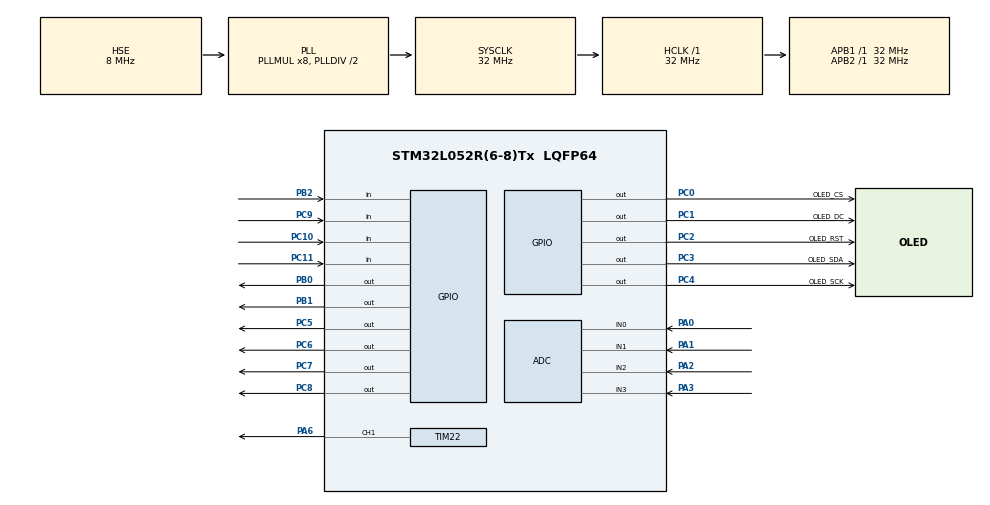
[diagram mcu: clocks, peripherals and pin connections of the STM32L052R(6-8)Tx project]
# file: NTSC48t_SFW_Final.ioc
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ADC.ClockPrescaler=ADC_CLOCK_ASYNC_DIV64
ADC.DiscontinuousConvMode=ENABLE
ADC.SamplingTime=ADC_SAMPLETIME_160CYCLES_5
Mcu.Family=STM32L0
Mcu.Name=STM32L052R(6-8)Tx
Mcu.Package=LQFP64
NVIC.ADC1_COMP_IRQn=true\:0\:0\:false\:false\:true\:true
PA0.Mode=IN0
PA0.Signal=ADC_IN0
PA1.Mode=IN1
PA1.Signal=ADC_IN1
PA2.Mode=IN2
PA2.Signal=ADC_IN2
PA3.Mode=IN3
PA3.Signal=ADC_IN3
PA6.Signal=S_TIM22_CH1
PB0.Signal=GPIO_Output
PB1.Signal=GPIO_Output
PB2.Signal=GPIO_Input
PC0.GPIO_Label=OLED_CS
PC0.Signal=GPIO_Output
PC1.GPIO_Label=OLED_DC
PC1.Signal=GPIO_Output
PC10.Signal=GPIO_Input
PC11.Signal=GPIO_Input
PC14-OSC32_IN.Mode=LSE-External-Oscillator
PC14-OSC32_IN.Signal=RCC_OSC32_IN
PC15-OSC32_OUT.Mode=LSE-External-Oscillator
PC15-OSC32_OUT.Signal=RCC_OSC32_OUT
PC2.GPIO_Label=OLED_RST
PC2.Signal=GPIO_Output
PC3.GPIO_Label=OLED_SDA
PC3.Signal=GPIO_Output
PC4.GPIO_Label=OLED_SCK
PC4.Signal=GPIO_Output
PC5.Signal=GPIO_Output
PC6.Signal=GPIO_Output
PC7.Signal=GPIO_Output
PC8.Signal=GPIO_Output
PC9.Signal=GPIO_Input
PH0-OSC_IN.Mode=HSE-External-Oscillator
PH0-OSC_IN.Signal=RCC_OSC_IN
PH1-OSC_OUT.Mode=HSE-External-Oscillator
PH1-OSC_OUT.Signal=RCC_OSC_OUT
ProjectManager.HeapSize=0x200
ProjectManager.StackSize=0x400
ProjectManager.TargetToolchain=MDK-ARM V5
RCC.AHBFreq_Value=32000000
RCC.APB1Freq_Value=32000000
RCC.APB1TimFreq_Value=32000000
RCC.APB2Freq_Value=32000000
RCC.APB2TimFreq_Value=32000000
RCC.HCLKFreq_Value=32000000
RCC.HSE_VALUE=8000000
RCC.HSI16_VALUE=16000000
RCC.HSI48_VALUE=48000000
RCC.HSI_VALUE=16000000
RCC.LSE_Drive_Capability=RCC_LSEDRIVE_HIGH
RCC.MSI_VALUE=2097000
RCC.PLLMUL=RCC_PLLMUL_8
RCC.PLLSourceVirtual=RCC_PLLSOURCE_HSE
RCC.RTCClockSelection=RCC_RTCCLKSOURCE_LSE
RCC.RTCClockSelectionVirtual=RCC_RTCCLKSOURCE_LSE
RCC.SYSCLKFreq_VALUE=32000000
RCC.SYSCLKSource=RCC_SYSCLKSOURCE_PLLCLK
RCC.VCOOutputFreq_Value=64000000
SH.S_TIM22_CH1.0=TIM22_CH1,PWM Generation1 CH1
TIM22.Channel-PWM\ Generation1\ CH1=TIM_CHANNEL_1
TIM22.OCMode_PWM-PWM\ Generation1\ CH1=TIM_OCMODE_PWM2
TIM22.Period=99
TIM22.Prescaler=3199
TIM22.Pulse-PWM\ Generation1\ CH1=0
VP_RTC_VS_RTC_Activate.Mode=RTC_Enabled
VP_RTC_VS_RTC_Calendar.Mode=RTC_Calendar
VP_TIM22_VS_ClockSourceINT.Mode=Internal
board=custom

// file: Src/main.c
/**
  ******************************************************************************
  * @file           : main.c
  * @brief          : Main program body
  ******************************************************************************
  ** This notice applies to any and all portions of this file
  * that are not between comment pairs USER CODE BEGIN and
  * USER CODE END. Other portions of this file, whether
  * inserted by the user or by software development tools
  * are owned by their respective copyright owners.
  *
  * COPYRIGHT(c) 2020 STMicroelectronics
  *
  * Redistribution and use in source and binary forms, with or without modification,
  * are permitted provided that the following conditions are met:
  *   1. Redistributions of source code must retain the above copyright notice,
  *      this list of conditions and the following disclaimer.
  *   2. Redistributions in binary form must reproduce the above copyright notice,
  *      this list of conditions and the following disclaimer in the documentation
  *      and/or other materials provided with the distribution.
  *   3. Neither the name of STMicroelectronics nor the names of its contributors
  *      may be used to endorse or promote products derived from this software
  *      without specific prior written permission.
  *
  * THIS SOFTWARE IS PROVIDED BY THE COPYRIGHT HOLDERS AND CONTRIBUTORS "AS IS"
  * AND ANY EXPRESS OR IMPLIED WARRANTIES, INCLUDING, BUT NOT LIMITED TO, THE
  * IMPLIED WARRANTIES OF MERCHANTABILITY AND FITNESS FOR A PARTICULAR PURPOSE ARE
  * DISCLAIMED. IN NO EVENT SHALL THE COPYRIGHT HOLDER OR CONTRIBUTORS BE LIABLE
  * FOR ANY DIRECT, INDIRECT, INCIDENTAL, SPECIAL, EXEMPLARY, OR CONSEQUENTIAL
  * DAMAGES (INCLUDING, BUT NOT LIMITED TO, PROCUREMENT OF SUBSTITUTE GOODS OR
  * SERVICES; LOSS OF USE, DATA, OR PROFITS; OR BUSINESS INTERRUPTION) HOWEVER
  * CAUSED AND ON ANY THEORY OF LIABILITY, WHETHER IN CONTRACT, STRICT LIABILITY,
  * OR TORT (INCLUDING NEGLIGENCE OR OTHERWISE) ARISING IN ANY WAY OUT OF THE USE
  * OF THIS SOFTWARE, EVEN IF ADVISED OF THE POSSIBILITY OF SUCH DAMAGE.
  *
  ******************************************************************************
  */
#include "main.h"
#include "stm32l0xx_hal.h"
#include "adc.h"
#include "rtc.h"
#include "tim.h"
#include "gpio.h"

/* USER CODE BEGIN Includes */
RTC_TimeTypeDef sTime;
RTC_DateTypeDef sDate;
extern ADC_HandleTypeDef hadc;
/* USER CODE END Includes */

/* USER CODE BEGIN PV */
/* Private variables ---------------------------------------------------------*/

uint8_t hour = 0;
uint8_t min = 0;
uint8_t sec = 0;
uint8_t mode=0,b_mode=0,t1=0,s2=0,n=0;
uint16_t ain[4],c1=0,RPM,ni=0,nii=0,bn=10,nnn,cnn=0;
uint32_t t[2];
char str[32],stt[9][10]={{"  CENTER  "},
												 {"    UP    "},
												 {" RIGHT_UP "},
												 {"  RIGHT   "},
												 {"RIGHT_DOWN"},
												 {"   DOWN   "},
												 {"LEFT_DOWN "},
												 {"   LEFT   "},
												 {"  LEFT_UP "}};
_Bool flag_R[2]={1,1},ct1=1,c2=1,c22=0,c222=0,c0=0;

/* USER CODE END PV */

void SystemClock_Config(void);

/* USER CODE BEGIN PFP */
/* Private function prototypes -----------------------------------------------*/
void Set_BCD_Hour(char);
void Set_BCD_Min(char);
void Set_BCD_Sec(char);
char Get_BCD_Hour(void);
char Get_BCD_Min(void);
char Get_BCD_Sec(void);

void adc()
{
	for(uint8_t i=0;i<4;i++)
	{
		HAL_ADC_Start(&hadc);
		HAL_ADC_PollForConversion(&hadc,10);
		ain[i]=HAL_ADC_GetValue(&hadc);
	}
}
void m0()
{
	if(b_mode!=mode)
	{
		b_mode=mode;
		GPIOC->ODR=~0x80;
		GPIOB->ODR=0x00;
		TIM22->CCR1=0;
		OLED_Start_Page_PageAddressing(0);
		OLED_Start_Column_PageAddressing(0);
		t[0]=HAL_GetTick();
		c0=0;
	}
	if(c0)
	{
		HAL_RTC_GetDate(&hrtc,&sDate,FORMAT_BIN);
		HAL_RTC_GetTime(&hrtc,&sTime,FORMAT_BIN);
		sprintf(str,"System RTC: %02d:%02d:%02d",sTime.Hours,sTime.Minutes,sTime.Seconds);
		OLED_ShowRomString(2,str);
	}
	if(HAL_GetTick()-t[0]>=200)
	{
		c0=1;
		adc();
		OLED_ShowRomString(0,"NTSC_48T: Electronics");
		OLED_ShowRomString(1,"Competitor: 000000002");
		sprintf(str,"AIN0: %04d[mV]",ain[0]*3300/4095);
		OLED_ShowRomString(3,str);
		sprintf(str,"AIN1: %04d[mV]",ain[1]*3300/4095);
		OLED_ShowRomString(4,str);
		sprintf(str,"AIN2: %04d[mV]",ain[2]*3300/4095);
		OLED_ShowRomString(5,str);
		sprintf(str,"AIN3: %04d[mV]",ain[3]*3300/4095);
		OLED_ShowRomString(6,str);
		if(HAL_GPIO_ReadPin(GPIOB,GPIO_PIN_2)==0)
		{
			OLED_ShowRomString(7,"RPM:    BLANKED");
		}
		else
		{
			OLED_ShowRomString(7,"RPM:  NOT_BLANKED");
		}
		t[0]=HAL_GetTick();
	}
}
void m1()
{
	if(b_mode!=mode)
	{
		b_mode=mode;
		GPIOC->ODR=~0x40;
		GPIOB->ODR=0x00;
		TIM22->CCR1=0;
		OLED_Start_Page_PageAddressing(0);
		OLED_Start_Column_PageAddressing(0);
		t[0]=t[1]=HAL_GetTick();
		OLED_ShowRomString(6,"Relay1: OFF");
		OLED_ShowRomString(7,"Relay2: OFF");
	}
	if(HAL_GetTick()-t[0]>=200)
	{
		adc();
		OLED_ShowRomString(0,"Power GenEration Info");
		if(ain[1]>3000) TIM22->CCR1+=5;
		else if(ain[1]<1000&&TIM22->CCR1>=5) TIM22->CCR1-=5;
		else if(ain[1]<1000) TIM22->CCR1=0;
		else if(ain[0]>3000) TIM22->CCR1+=1;
		else if(ain[0]<1000&&TIM22->CCR1>0) TIM22->CCR1-=1;
		if(TIM22->CCR1>100) TIM22->CCR1=100;
		sprintf(str,"PWM1: %3d  [%%]",TIM22->CCR1);
		OLED_ShowRomString(1,str);
		sprintf(str,"RPM:  %4d [RPM]",RPM*60);
		OLED_ShowRomString(2,str);
		uint16_t pp=RPM*60/TIM22->CCR1;
		if(TIM22->CCR1==0) pp=0;
		sprintf(str,"Rate: %4d [RPM/PWM1]",pp);
		OLED_ShowRomString(3,str);
		sprintf(str,"Vout: %4d [mV]",ain[2]*3300/4095);
		OLED_ShowRomString(4,str);
		sprintf(str,"Iout: %5.1f[mA]",(float)ain[3]*3300/4095/11);
		OLED_ShowRomString(5,str);
		if(HAL_GPIO_ReadPin(GPIOC,GPIO_PIN_10)==0&&flag_R[0])
		{
			HAL_GPIO_TogglePin(GPIOB,GPIO_PIN_0);
			if(HAL_GPIO_ReadPin(GPIOB,GPIO_PIN_0)) OLED_ShowRomString(6,"Relay1: ON");
			else OLED_ShowRomString(6,"Relay1: OFF");
			flag_R[0]=0;
		}else if(HAL_GPIO_ReadPin(GPIOC,GPIO_PIN_10)==1)
		{
			flag_R[0]=1;
		}
		if(HAL_GPIO_ReadPin(GPIOC,GPIO_PIN_9)==0&&flag_R[1])
		{
			HAL_GPIO_TogglePin(GPIOB,GPIO_PIN_1);
			if(HAL_GPIO_ReadPin(GPIOB,GPIO_PIN_1)) OLED_ShowRomString(7,"Relay2: ON");
			else OLED_ShowRomString(7,"Relay2: OFF");
			flag_R[1]=0;
		}else if(HAL_GPIO_ReadPin(GPIOC,GPIO_PIN_9)==1)
		{
			flag_R[1]=1;
		}
		t[0]=HAL_GetTick();
	}
	if(HAL_GetTick()-t[1]<500)
	{
		if(ct1&&HAL_GPIO_ReadPin(GPIOB,GPIO_PIN_2)==0)
		{
			c1++;
			ct1=0;
		}else if(!ct1&&HAL_GPIO_ReadPin(GPIOB,GPIO_PIN_2))
		{
			ct1=1;
		}
	}else
	{
		t[1]=HAL_GetTick();
		RPM=c1;
		c1=0;
	}
}
void m2()
{
	if(b_mode!=mode)
	{
		b_mode=mode;
		GPIOC->ODR=~0x20;
		GPIOB->ODR=0x00;
		OLED_Start_Page_PageAddressing(0);
		OLED_Start_Column_PageAddressing(0);
		t[0]=HAL_GetTick();
		OLED_ShowLogo();
	}
	int i=0;
	HAL_RTC_GetDate(&hrtc,&sDate,FORMAT_BIN);
	HAL_RTC_GetTime(&hrtc,&sTime,FORMAT_BIN);
	OLED_Start_Page_PageAddressing(0);
	OLED_Start_Column_PageAddressing(0);
	sprintf(str,"%02d:%02d:%02d",sTime.Hours,sTime.Minutes,sTime.Seconds);
	while(str[i]!='\0') OLED_ShowRomChar(str[i++]);
	if(HAL_GetTick()-t[0]>=200)
	{
		adc();
		OLED_Start_Page_PageAddressing(1);
		OLED_Start_Column_PageAddressing(0);
		i=0;
		if(ain[0]>3000&&ain[1]>3000)
		{
			while(i<10) OLED_ShowRomChar(stt[2][i++]);
			n=2;
		}
		else if(ain[0]>3000&&ain[1]<1000)
		{
			while(i<10) OLED_ShowRomChar(stt[4][i++]);
			n=4;
		}
		else if(ain[0]<1000&&ain[1]>3000)
		{
			while(i<10) OLED_ShowRomChar(stt[8][i++]);
			n=8;
		}
		else if(ain[0]<1000&&ain[1]<1000)
		{
			while(i<10) OLED_ShowRomChar(stt[6][i++]);
			n=6;
		}
		else if(ain[0]>3000)
		{
			while(i<10) OLED_ShowRomChar(stt[3][i++]);
			n=3;
		}
		else if(ain[1]>3000)
		{
			while(i<10) OLED_ShowRomChar(stt[1][i++]);
			n=1;
		}
		else if(ain[0]<1000)
		{
			while(i<10) OLED_ShowRomChar(stt[7][i++]);
			n=7;
		}
		else if(ain[1]<1000)
		{
			while(i<10) OLED_ShowRomChar(stt[5][i++]);
			n=5;
		}
		else if(ain[1]>1000&&ain[0]>1000&&ain[0]<3000&&ain[1]<3000)
		{
			while(i<10) OLED_ShowRomChar(stt[0][i++]);
			n=0;
		}
		if(n!=0&&bn!=n)
		{
			bn=n;
			if(c2==1)
			{
				nnn=ni=nii=n;
				c2=0;
				nii++;
				if(nii>8) nii=0;
				nnn--;
				if(nnn<0) nnn=8;
			}
			if(n==nii&&s2==0)
			{
					s2=1;
					nii++;
					if(nii>8) nii=0;
			}
			if(s2==0&&n==nnn)
			{
					s2=2;
					nnn--;
					if(nnn<0) nnn=8;
					nii=nnn;
			}
			cnn+=n;
			if(cnn>=36) c22=1;
			if(n==nii&&s2==1)
			{
				nii++;
				if(n!=ni) c222=1;
				if(nii>8) nii=0;
				if(n==ni&&c222) c22=1;
			}
			else if(n==nii&&s2==2)
			{
				nii--;
				if(n!=ni) c222=1;
				if(nii<0) nii=8;
				if(n==ni&&c222) c22=1;
			}
		}else if(n==0)
		{
			c2=1;
			s2=0;
			c22=0;
			c222=0;
			cnn=0;
		}
    OLED_Start_Page_PageAddressing(2);
		OLED_Start_Column_PageAddressing(0);
		i=0;
		if(s2==0)
		{
			OLED_ShowRomChar('N');
			OLED_ShowRomChar('O');
			OLED_ShowRomChar('N');
			OLED_ShowRomChar('E');
		}
		else if(s2==1&&c22)
		{
			OLED_ShowRomChar(' ');
			OLED_ShowRomChar('C');
			OLED_ShowRomChar('W');
			OLED_ShowRomChar(' ');
		}
		else if(s2==2&&c22)
		{
			OLED_ShowRomChar(' ');
			OLED_ShowRomChar('C');
			OLED_ShowRomChar('C');
			OLED_ShowRomChar('W');
		}
		t[0]=HAL_GetTick();
	}
}
void m()
{
	switch (mode)
	{
		case 0:
			m0();
			break;
		case 1:
			m1();
			break;
		case 2:
			m2();
			break;
	}
}
void s()
{
	if(!HAL_GPIO_ReadPin(GPIOC,GPIO_PIN_11))
	{
		mode++;
		if(mode>=3)mode=0;
		while(!HAL_GPIO_ReadPin(GPIOC,GPIO_PIN_11))
		{
			m();
		}
		HAL_Delay(40);
	}
}

/* USER CODE END PFP */

int main(void)
{

  /* MCU Configuration----------------------------------------------------------*/

  /* Reset of all peripherals, Initializes the Flash interface and the Systick. */
  HAL_Init();

  /* Configure the system clock */
  SystemClock_Config();

  /* Initialize all configured peripherals */
  MX_GPIO_Init();
  MX_TIM22_Init();
  MX_RTC_Init();
  MX_ADC_Init();
  /* USER CODE BEGIN 2 */

	HAL_TIM_Base_Start(&htim22);
	HAL_TIM_PWM_Start(&htim22 , TIM_CHANNEL_1);

	HAL_Delay(100);	//Wait for RTC Init

	HAL_GPIO_WritePin(GPIOC , GPIO_PIN_8 , GPIO_PIN_SET);
	HAL_GPIO_WritePin(GPIOC , GPIO_PIN_7 , GPIO_PIN_SET);
	HAL_GPIO_WritePin(GPIOC , GPIO_PIN_6 , GPIO_PIN_SET);
	HAL_GPIO_WritePin(GPIOC , GPIO_PIN_5 , GPIO_PIN_SET);
	HAL_GPIO_WritePin(GPIOC , GPIO_PIN_4 , GPIO_PIN_SET);
	HAL_GPIO_WritePin(GPIOB , GPIO_PIN_1 , GPIO_PIN_RESET);
	HAL_GPIO_WritePin(GPIOB , GPIO_PIN_0 , GPIO_PIN_RESET);

	OLED_Init();
	HAL_Delay(1000);

  /* USER CODE END 2 */

  /* Infinite loop */
  /* USER CODE BEGIN WHILE */
  while (1)
  {
		s();
		m();
		HAL_GPIO_WritePin(GPIOC,GPIO_PIN_8,(HAL_GPIO_ReadPin(GPIOB,GPIO_PIN_2)));
  /* USER CODE END WHILE */

  }

}

void SystemClock_Config(void)
{

  RCC_OscInitTypeDef RCC_OscInitStruct;
  RCC_ClkInitTypeDef RCC_ClkInitStruct;
  RCC_PeriphCLKInitTypeDef PeriphClkInit;

    /**Configure the main internal regulator output voltage
    */
  __HAL_PWR_VOLTAGESCALING_CONFIG(PWR_REGULATOR_VOLTAGE_SCALE1);

    /**Configure LSE Drive Capability
    */
  HAL_PWR_EnableBkUpAccess();

  __HAL_RCC_LSEDRIVE_CONFIG(RCC_LSEDRIVE_HIGH);

    /**Initializes the CPU, AHB and APB busses clocks
    */
  RCC_OscInitStruct.OscillatorType = RCC_OSCILLATORTYPE_HSI|RCC_OSCILLATORTYPE_HSE
                              |RCC_OSCILLATORTYPE_LSE;
  RCC_OscInitStruct.HSEState = RCC_HSE_ON;
  RCC_OscInitStruct.LSEState = RCC_LSE_ON;
  RCC_OscInitStruct.HSIState = RCC_HSI_ON;
  RCC_OscInitStruct.HSICalibrationValue = 16;
  RCC_OscInitStruct.PLL.PLLState = RCC_PLL_ON;
  RCC_OscInitStruct.PLL.PLLSource = RCC_PLLSOURCE_HSE;
  RCC_OscInitStruct.PLL.PLLMUL = RCC_PLLMUL_8;
  RCC_OscInitStruct.PLL.PLLDIV = RCC_PLLDIV_2;
  if (HAL_RCC_OscConfig(&RCC_OscInitStruct) != HAL_OK)
  {
    _Error_Handler(__FILE__, __LINE__);
  }

    /**Initializes the CPU, AHB and APB busses clocks
    */
  RCC_ClkInitStruct.ClockType = RCC_CLOCKTYPE_HCLK|RCC_CLOCKTYPE_SYSCLK
                              |RCC_CLOCKTYPE_PCLK1|RCC_CLOCKTYPE_PCLK2;
  RCC_ClkInitStruct.SYSCLKSource = RCC_SYSCLKSOURCE_PLLCLK;
  RCC_ClkInitStruct.AHBCLKDivider = RCC_SYSCLK_DIV1;
  RCC_ClkInitStruct.APB1CLKDivider = RCC_HCLK_DIV1;
  RCC_ClkInitStruct.APB2CLKDivider = RCC_HCLK_DIV1;

  if (HAL_RCC_ClockConfig(&RCC_ClkInitStruct, FLASH_LATENCY_1) != HAL_OK)
  {
    _Error_Handler(__FILE__, __LINE__);
  }

  PeriphClkInit.PeriphClockSelection = RCC_PERIPHCLK_RTC;
  PeriphClkInit.RTCClockSelection = RCC_RTCCLKSOURCE_LSE;
  if (HAL_RCCEx_PeriphCLKConfig(&PeriphClkInit) != HAL_OK)
  {
    _Error_Handler(__FILE__, __LINE__);
  }

    /**Configure the Systick interrupt time
    */
  HAL_SYSTICK_Config(HAL_RCC_GetHCLKFreq()/1000);

    /**Configure the Systick
    */
  HAL_SYSTICK_CLKSourceConfig(SYSTICK_CLKSOURCE_HCLK);

  /* SysTick_IRQn interrupt configuration */
  HAL_NVIC_SetPriority(SysTick_IRQn, 0, 0);
}

/* USER CODE BEGIN 4 */
void Set_BCD_Hour(char hour)
{
  RTC_TimeTypeDef sTime;
	HAL_RTC_GetTime(&hrtc , &sTime , RTC_FORMAT_BCD);
	sTime.Hours = hour;
	HAL_RTC_SetTime(&hrtc , &sTime , RTC_FORMAT_BCD);
}

void Set_BCD_Min(char min)
{
  RTC_TimeTypeDef sTime;
	HAL_RTC_GetTime(&hrtc , &sTime , RTC_FORMAT_BCD);
	sTime.Minutes = min;
	HAL_RTC_SetTime(&hrtc , &sTime , RTC_FORMAT_BCD);
}

void Set_BCD_Sec(char sec)
{
  RTC_TimeTypeDef sTime;
	HAL_RTC_GetTime(&hrtc , &sTime , RTC_FORMAT_BCD);
	sTime.Seconds = sec;
	HAL_RTC_SetTime(&hrtc , &sTime , RTC_FORMAT_BCD);
}

char Get_BCD_Hour(void)
{
  RTC_TimeTypeDef sTime;
	char hour;
	HAL_RTC_GetTime(&hrtc , &sTime , RTC_FORMAT_BCD);
	hour = sTime.Hours;
	return hour;
}

char Get_BCD_Min(void)
{
  RTC_TimeTypeDef sTime;
	char min;
	HAL_RTC_GetTime(&hrtc , &sTime , RTC_FORMAT_BCD);
	min = sTime.Minutes;
	return min;
}

char Get_BCD_Sec(void)
{
  RTC_TimeTypeDef sTime;
	char sec;
	HAL_RTC_GetTime(&hrtc , &sTime , RTC_FORMAT_BCD);
	sec = sTime.Seconds;
	return sec;
}

/* USER CODE END 4 */

void _Error_Handler(char *file, int line)
{
  while(1)
  {
  }
}

/************************ (C) COPYRIGHT STMicroelectronics *****END OF FILE****/
